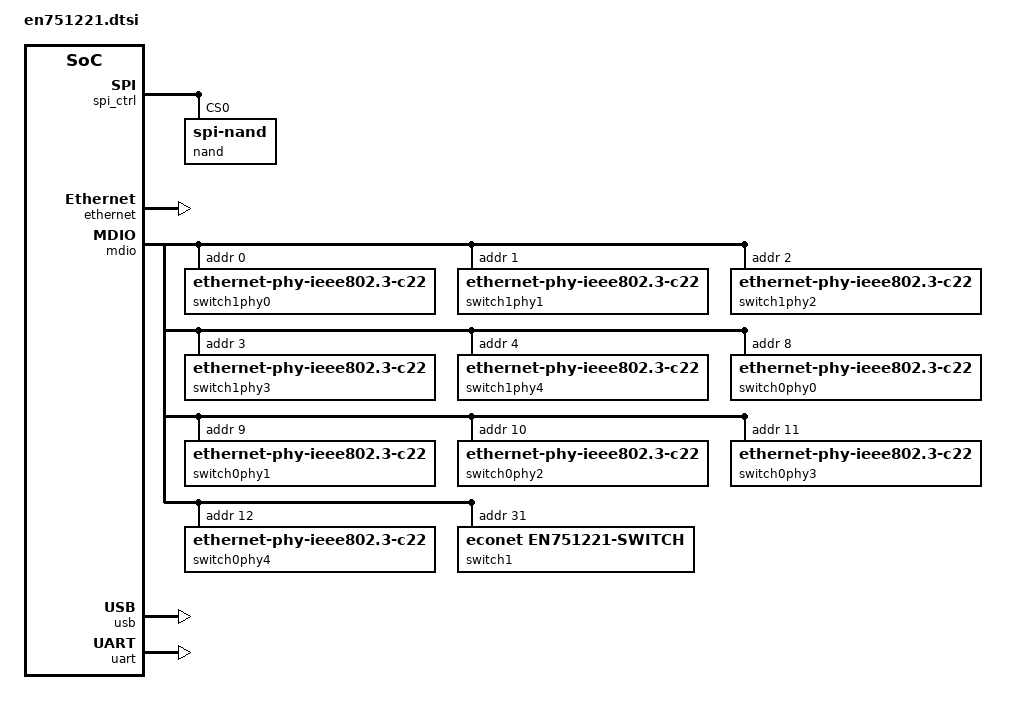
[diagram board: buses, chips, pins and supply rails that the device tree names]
// SPDX-License-Identifier: (GPL-2.0-only OR BSD-2-Clause)

#include <dt-bindings/reset/econet,en751221-scu.h>

/dts-v1/;

/ {
	compatible = "econet,en751221";
	#address-cells = <1>;
	#size-cells = <1>;

	hpt_clock: clock {
		compatible = "fixed-clock";
		#clock-cells = <0>;
		clock-frequency = <200000000>;  /* 200 MHz */
	};

	cpus: cpus {
		#address-cells = <1>;
		#size-cells = <0>;

		cpu@0 {
			device_type = "cpu";
			compatible = "mips,mips34Kc";
			reg = <0>;
		};
	};

	cpuintc: interrupt-controller {
		compatible = "mti,cpu-interrupt-controller";
		interrupt-controller;
		#address-cells = <0>;
		#interrupt-cells = <1>;
	};

	spi_ctrl: spi_controller@1fa10000 {
		compatible = "airoha,en7523-spi";
		reg = <0x1fa10000 0x140>;
		#address-cells = <1>;
		#size-cells = <0>;
		spi-rx-bus-width = <2>;
		spi-tx-bus-width = <2>;

		nand: nand@0 {
			compatible = "spi-nand";
			reg = <0>;
			nand-ecc-engine = <&nand>;
		};
	};

	chip_scu: syscon@1fa20000 {
		compatible = "econet,en751221-chip-scu", "syscon";
		reg = <0x1fa20000 0x388>;
	};

	intc: interrupt-controller@1fb40000 {
		compatible = "econet,en751221-intc";
		reg = <0x1fb40000 0x100>;
		interrupt-parent = <&cpuintc>;
		interrupts = <2>;

		interrupt-controller;
		#interrupt-cells = <1>;
		econet,shadow-interrupts = <7 2>, <8 3>, <13 12>, <30 29>;
	};

	scuclk: clock-controller@1fb00000 {
		compatible = "econet,en751221-scu", "syscon";
		reg = <0x1fb00000 0x970>;
		#clock-cells = <1>;
		#reset-cells = <1>;
	};

	ethernet: ethernet@1fb50000 {
		compatible = "econet,en751221-eth";
		reg = <0x1fb50000 0x8000>;

		resets = <&scuclk EN751221_FE_RST>,
			 <&scuclk EN751221_FE_QDMA1_RST>,
			 <&scuclk EN751221_FE_QDMA2_RST>,
			 <&scuclk EN751221_XPON_MAC_RST>,
			 <&scuclk EN751221_XPON_PHY_RST>;
		reset-names = "fe", "qdma0", "qdma1",
			      "xpon-mac", "xpon-phy";

		#address-cells = <1>;
		#size-cells = <0>;

		interrupt-parent = <&intc>;
		interrupts = <21>, <22>;

		gmac0: mac@0 {
			compatible = "econet,eth-mac";
			reg = <0>;
			phy-mode = "trgmii";
			status = "disabled";

			fixed-link {
				speed = <1000>;
				full-duplex;
				pause;
			};
		};

		gmac1: mac@1 {
			compatible = "econet,eth-mac";
			reg = <1>;
			status = "disabled";
			phy-mode = "rgmii-rxid";
		};
	};

	switch0: switch@1fb58000 {
		compatible = "econet,en751221-switch";
		reg = <0x1fb58000 0x8000>;

		resets = <&scuclk EN751221_GSW_RST>;
		reset-names = "gsw";

		interrupt-controller;
		#interrupt-cells = <1>;
		interrupt-parent = <&intc>;
		interrupts = <15>;

		#address-cells = <1>;
		#size-cells = <0>;

		dsa,member = <0 0>;

		ports {
			switch0port0: port@0 {
				reg = <0>;
				phy-handle = <&switch0phy0>;
				status = "disabled";
			};

			switch0port1: port@1 {
				reg = <1>;
				phy-handle = <&switch0phy1>;
				status = "disabled";
			};

			switch0port2: port@2 {
				reg = <2>;
				phy-handle = <&switch0phy2>;
				status = "disabled";
			};

			switch0port3: port@3 {
				reg = <3>;
				phy-handle = <&switch0phy3>;
				status = "disabled";
			};

			switch0port4: port@4 {
				reg = <4>;
				phy-handle = <&switch0phy4>;
				status = "disabled";
			};

			switch0port5: port@5 {
				reg = <5>;
				phy-mode = "rgmii";
				link = <&switch1port6>;
				fixed-link {
					speed = <1000>;
					full-duplex;
				};
			};

			switch0port6: port@6 {
				reg = <6>;
				label = "cpu";
				ethernet = <&gmac0>;
				phy-mode = "internal";
				fixed-link {
					speed = <1000>;
					full-duplex;
				};
			};
		};

		mdio {
			switch1phy0: ethernet-phy@0 {
				compatible = "ethernet-phy-ieee802.3-c22";
				reg = <0>;
				interrupts = <0>;
			};

			switch1phy1: ethernet-phy@1 {
				compatible = "ethernet-phy-ieee802.3-c22";
				reg = <1>;
			};

			switch1phy2: ethernet-phy@2 {
				compatible = "ethernet-phy-ieee802.3-c22";
				reg = <2>;
			};

			switch1phy3: ethernet-phy@3 {
				compatible = "ethernet-phy-ieee802.3-c22";
				reg = <3>;
			};

			switch1phy4: ethernet-phy@4 {
				compatible = "ethernet-phy-ieee802.3-c22";
				reg = <4>;
			};

			switch0phy0: ethernet-phy@8 {
				compatible = "ethernet-phy-ieee802.3-c22";
				reg = <8>;
			};

			switch0phy1: ethernet-phy@9 {
				compatible = "ethernet-phy-ieee802.3-c22";
				reg = <9>;
			};

			switch0phy2: ethernet-phy@10 {
				compatible = "ethernet-phy-ieee802.3-c22";
				reg = <10>;
			};

			switch0phy3: ethernet-phy@11 {
				compatible = "ethernet-phy-ieee802.3-c22";
				reg = <11>;
			};

			switch0phy4: ethernet-phy@12 {
				compatible = "ethernet-phy-ieee802.3-c22";
				reg = <12>;
			};

			switch1: switch@31 {
				compatible = "econet,en751221-switch";
				reg = <31>;

				resets = <&scuclk EN751221_MCM_GSW_RST>;
				reset-names = "mcm";

				dsa,member = <0 1>;
				mediatek,mcm;

				ports {
					switch1port0: port@0 {
						reg = <0>;
						phy-handle = <&switch1phy0>;
						status = "disabled";
					};

					switch1port1: port@1 {
						reg = <1>;
						phy-handle = <&switch1phy1>;
						status = "disabled";
					};

					switch1port2: port@2 {
						reg = <2>;
						phy-handle = <&switch1phy2>;
						status = "disabled";
					};

					switch1port3: port@3 {
						reg = <3>;
						phy-handle = <&switch1phy3>;
						status = "disabled";
					};

					switch1port4: port@4 {
						reg = <4>;
						phy-handle = <&switch1phy4>;
						status = "disabled";
					};

					switch1port5: port@5 {
						reg = <5>;
						phy-mode = "rgmii";
						status = "disabled";
						fixed-link {
							speed = <1000>;
							full-duplex;
						};
					};

					switch1port6: port@6 {
						reg = <6>;
						link = <&switch0port5>;
						phy-mode = "trgmii";
						fixed-link {
							speed = <1000>;
							full-duplex;
						};
					};
				};
			};

		};
	};

    usb: usb@1fb90000 {
            compatible = "mediatek,mt8173-xhci", "mediatek,mtk-xhci";
            reg = <0x1fb90000 0x4000>,
                  <0x1fa80700 0x100>;
            reg-names = "mac", "ippc";

            #address-cells = <1>;
            #size-cells = <0>;

            interrupt-parent = <&intc>;
            interrupts = <17>;
            usb3-lpm-capable;
    };

	uart: serial@1fbf0000 {
		compatible = "ns16550";
		reg = <0x1fbf0000 0x30>;
		reg-io-width = <4>;
		reg-shift = <2>;
		interrupt-parent = <&intc>;
		interrupts = <0>;
		/*
		 * Conversion of baud rate to clock frequency requires a
		 * computation that is not in the ns16550 driver, so this
		 * uart is fixed at 115200 baud.
		 */
		clock-frequency = <1843200>;
	};

	timer_hpt: timer@1fbf0400 {
		compatible = "econet,en751221-timer";
		reg = <0x1fbf0400 0x100>;

		interrupt-parent = <&intc>;
		interrupts = <30>;
		clocks = <&hpt_clock>;
	};
};
